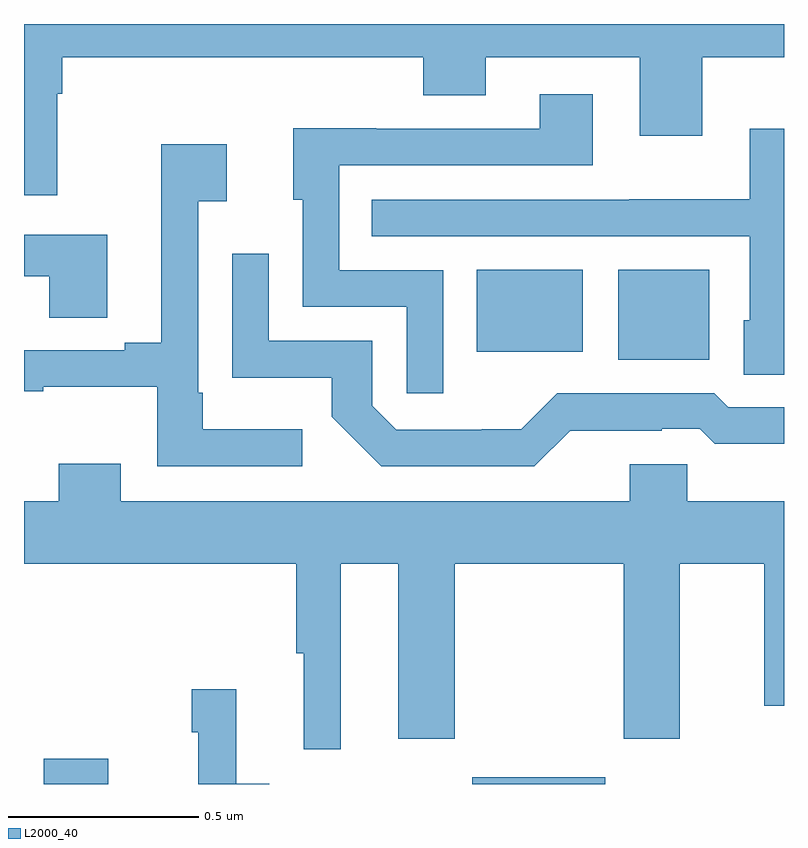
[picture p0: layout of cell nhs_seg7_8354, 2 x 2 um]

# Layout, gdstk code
import gdstk
lib = gdstk.Library(unit=1e-6, precision=1e-09)
def R(c, l, rs):  # rectangles x0, y0, x1, y1
    for r in rs: c.add(gdstk.rectangle(r[:2], r[2:], *l))
def P(c, l, *ps):  # polygons
    for p in ps: c.add(gdstk.Polygon(p, *l))
L2000_40 = (2000, 40)

nhs_seg7_8354 = lib.new_cell('nhs_seg7_8354')
R(nhs_seg7_8354, L2000_40, [(223.052,1036,223.222,1036.066), (224.18,1036,224.53,1036.018), (224.564,1037.117,224.803,1037.353), (224.192,1037.138,224.47,1037.353)])
P(nhs_seg7_8354, L2000_40, [(223.087,1037.816),(223.1,1037.816),(223.1,1037.912),(224.051,1037.912),(224.051,1037.813),(224.215,1037.813),(224.215,1037.912),(224.621,1037.912),(224.621,1037.706),(224.785,1037.706),(224.785,1037.912),(225,1037.912),(225,1038),(223,1038),(223,1037.55),(223.087,1037.55)],
  [(224.103,1037.352),(223.83,1037.352),(223.83,1037.628),(224.497,1037.628),(224.497,1037.815),(224.357,1037.815),(224.357,1037.724),(223.927,1037.724),(223.927,1037.726),(223.709,1037.726),(223.709,1037.538),(223.734,1037.538),(223.734,1037.256),(224.007,1037.256),(224.007,1037.028),(224.103,1037.028)],
  [(225,1037.725),(224.91,1037.725),(224.91,1037.539),(224.593,1037.539),(224.593,1037.538),(223.915,1037.538),(223.915,1037.442),(224.91,1037.442),(224.91,1037.22),(224.894,1037.22),(224.894,1037.077),(225,1037.077)],
  [(223.732,1036.933),(223.471,1036.933),(223.471,1037.029),(223.458,1037.029),(223.458,1037.534),(223.534,1037.534),(223.534,1037.683),(223.361,1037.683),(223.361,1037.161),(223.265,1037.161),(223.265,1037.142),(223,1037.142),(223,1037.034),(223.051,1037.034),(223.051,1037.045),(223.35,1037.045),(223.35,1036.836),(223.732,1036.836)],
  [(223.219,1037.446),(223,1037.446),(223,1037.336),(223.067,1037.336),(223.067,1037.227),(223.219,1037.227)],
  [(224.438,1036.93),(224.678,1036.93),(224.678,1036.935),(224.778,1036.935),(224.818,1036.896),(225,1036.896),(225,1036.992),(224.853,1036.992),(224.817,1037.028),(224.403,1037.028),(224.309,1036.934),(224.204,1036.934),(224.204,1036.932),(223.98,1036.932),(223.917,1036.995),(223.917,1037.166),(223.644,1037.166),(223.644,1037.395),(223.548,1037.395),(223.548,1037.069),(223.81,1037.069),(223.81,1036.967),(223.94,1036.836),(224.343,1036.836)],
  [(223.834,1036.58),(223.985,1036.58),(223.985,1036.119),(224.133,1036.119),(224.133,1036.58),(224.578,1036.58),(224.578,1036.119),(224.725,1036.119),(224.725,1036.58),(224.948,1036.58),(224.948,1036.206),(225,1036.206),(225,1036.744),(224.745,1036.744),(224.745,1036.842),(224.594,1036.842),(224.594,1036.744),(223.255,1036.744),(223.255,1036.843),(223.091,1036.843),(223.091,1036.744),(223,1036.744),(223,1036.58),(223.717,1036.58),(223.717,1036.344),(223.736,1036.344),(223.736,1036.092),(223.834,1036.092)],
  [(223.645,1036.001),(223.559,1036.001),(223.559,1036.249),(223.441,1036.249),(223.441,1036.136),(223.459,1036.136),(223.459,1036),(223.645,1036)])

lib.write_gds('nhs_seg7_8354.gds')
